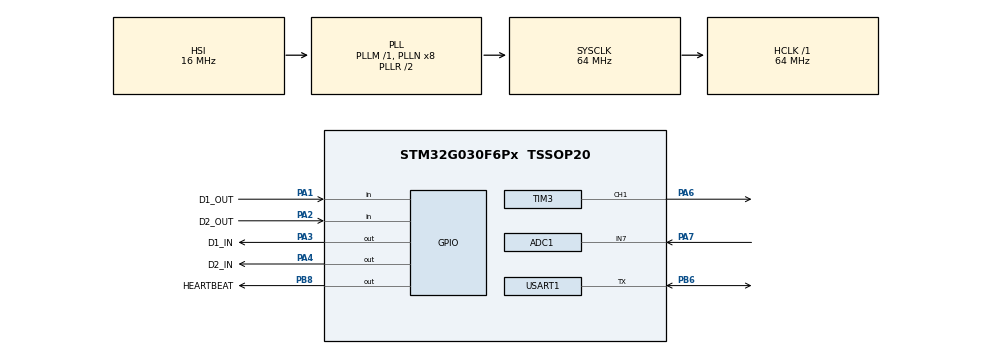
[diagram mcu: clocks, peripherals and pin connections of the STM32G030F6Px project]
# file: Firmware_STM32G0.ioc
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ADC1.Channel-9\#ChannelRegularConversion=ADC_CHANNEL_7
ADC1.ClockPrescaler=ADC_CLOCK_SYNC_PCLK_DIV4
ADC1.NbrOfConversionFlag=1
ADC1.Rank-9\#ChannelRegularConversion=1
ADC1.SamplingTime-9\#ChannelRegularConversion=ADC_SAMPLINGTIME_COMMON_1
ADC1.SamplingTimeCommon1=ADC_SAMPLETIME_79CYCLES_5
ADC1.SelectedChannel=ADC_CHANNEL_7
ADC1.master=1
Mcu.Family=STM32G0
Mcu.Name=STM32G030F6Px
Mcu.Package=TSSOP20
NVIC.USART1_IRQn=true\:0\:0\:false\:false\:true\:true\:true\:true
PA1.GPIO_Label=D1_OUT
PA1.GPIO_PuPd=GPIO_NOPULL
PA1.Signal=GPIO_Input
PA13.Mode=Serial_Wire
PA13.Signal=SYS_SWDIO
PA14-BOOT0.Mode=Serial_Wire
PA14-BOOT0.Signal=SYS_SWCLK
PA14-BOOT0__PA15.StandardMode=true
PA2.GPIO_Label=D2_OUT
PA2.GPIO_PuPd=GPIO_NOPULL
PA2.Signal=GPIO_Input
PA3.GPIO_Label=D1_IN
PA3.Signal=GPIO_Output
PA4.GPIO_Label=D2_IN
PA4.Signal=GPIO_Output
PA6.Signal=S_TIM3_CH1
PA7.Mode=IN7
PA7.Signal=ADC1_IN7
PB0__PB1__PB2__PA8.StandardMode=true
PB3__PB4__PB5__PB6.StandardMode=true
PB6.GPIO_Speed=GPIO_SPEED_FREQ_VERY_HIGH
PB6.Mode=Half_duplex(single_wire_mode)
PB6.Signal=USART1_TX
PB7__PB8.StandardMode=true
PB8.GPIO_Label=HEARTBEAT
PB8.Signal=GPIO_Output
PC14-OSC32_IN\ (PC14)__PB9.StandardMode=true
ProjectManager.HeapSize=0x200
ProjectManager.StackSize=0x400
ProjectManager.TargetToolchain=STM32CubeIDE
RCC.ADCFreq_Value=64000000
RCC.AHBFreq_Value=64000000
RCC.CortexFreq_Value=64000000
RCC.EXTERNAL_CLOCK_VALUE=12288000
RCC.HCLKFreq_Value=64000000
RCC.HSE_VALUE=8000000
RCC.HSI_VALUE=16000000
RCC.LSE_VALUE=32768
RCC.SYSCLKFreq_VALUE=64000000
RCC.SYSCLKSource=RCC_SYSCLKSOURCE_PLLCLK
RCC.VCOOutputFreq_Value=128000000
SH.S_TIM3_CH1.0=TIM3_CH1,PWM Generation1 CH1
TIM3.Channel-PWM\ Generation1\ CH1=TIM_CHANNEL_1
TIM3.Period=19999
TIM3.Prescaler=63
TIM3.Pulse-PWM\ Generation1\ CH1=1500
USART1.BaudRate=1000000
USART1.VirtualMode-Half_duplex(single_wire_mode)=VM_ASYNC
board=custom

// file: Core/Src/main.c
/* USER CODE BEGIN Header */
/**
  ******************************************************************************
  * @file           : main.c
  * @brief          : Main program body
  ******************************************************************************
  * @attention
  *
  * Copyright (c) 2026 STMicroelectronics.
  * All rights reserved.
  *
  * This software is licensed under terms that can be found in the LICENSE file
  * in the root directory of this software component.
  * If no LICENSE file comes with this software, it is provided AS-IS.
  *
  ******************************************************************************
  */
/* USER CODE END Header */
#include "main.h"

/* USER CODE BEGIN Includes */
#include <stdbool.h>
/* USER CODE END Includes */

/* USER CODE BEGIN PD */
// --- SERVO Positions (Adjust these to match your physical gripper limits) ---
#define PWM_POS_OPEN_US         1000    // 1.0 ms pulse = Open
#define PWM_POS_CLOSE_US        2000    // 2.0 ms pulse = Closed
#define PWM_SOFT_STEP_US        10      // Step size (us) per 20ms during Soft Close

#define ST3215_ID               1       // Default Feetech Servo ID (0xFE is broadcast if unsure)
#define ST3215_POS_OPEN         1000    // Range is 0 - 4095
#define ST3215_POS_CLOSE        3000    // Range is 0 - 4095

// --- CURRENT LIMITS (in milliamps) ---
#define SOFT_GRIP_LIMIT_MA      450     // Stop closing in Soft Mode when current hits 450mA
#define HARD_OVERLOAD_LIMIT_MA  1200    // Protect 1.5A aviation cable if hard stalled
/* USER CODE END PD */

ADC_HandleTypeDef hadc1;

TIM_HandleTypeDef htim3;

UART_HandleTypeDef huart1;

/* USER CODE BEGIN PV */
typedef enum {
    SERVO_TYPE_PWM = 0,     // MG996R (5V PWM on PA6)
    SERVO_TYPE_UART = 1     // Feetech ST3215 (12V Half-Duplex UART on PB6)
} ServoType_t;

typedef enum {
    CMD_HARD_OPEN  = 0,     // D2=0, D1=0
    CMD_HARD_CLOSE = 1,     // D2=0, D1=1
    CMD_SOFT_OPEN  = 2,     // D2=1, D1=0 (Free-wheel / Backdrivable)
    CMD_SOFT_CLOSE = 3      // D2=1, D1=1 (Current-limited gentle grip)
} GripperCmd_t;

// >>> CHANGE THIS GLOBAL VARIABLE TO SWITCH BETWEEN PWM AND UART SERVO <<<
volatile ServoType_t g_active_servo = SERVO_TYPE_PWM;

GripperCmd_t g_current_cmd = CMD_SOFT_OPEN;
GripperCmd_t g_last_cmd    = 0xFF; // Force update on boot

uint32_t g_servo_current_mA = 0;
uint16_t g_pwm_current_us   = PWM_POS_OPEN_US;
bool     g_soft_grip_locked = false;
/* USER CODE END PV */

void SystemClock_Config(void);
static void MX_GPIO_Init(void);
static void MX_ADC1_Init(void);
static void MX_TIM3_Init(void);
static void MX_USART1_UART_Init(void);

/* USER CODE BEGIN 0 */

// ======================= HELPER FUNCTIONS ====================================
// PA7 -> ADC1_IN7, Shunt = 50mOhm, Amplifier Gain = 20V/V -> 1.0V/A
uint32_t Read_Servo_Current_mA(void) {
  HAL_ADC_Start(&hadc1);
  if (HAL_ADC_PollForConversion(&hadc1, 5) == HAL_OK) {
    uint32_t raw = HAL_ADC_GetValue(&hadc1);
    // 3300mV full scale / 4095 counts -> mV equals mA directly
    uint32_t current_mA = (raw * 3300UL) / 4095UL;
    // low-pass filter
    // Integer equivalent of (0.75 * old) + (0.25 * new) using fast bit-shift (/4)
    g_servo_current_mA = ((3 * g_servo_current_mA) + current_mA) >> 2;
  }
  HAL_ADC_Stop(&hadc1);
  return g_servo_current_mA;
}

// Send a register write packet to Feetech ST3215 over Half-Duplex USART1
void ST3215_WriteReg(uint8_t id, uint8_t reg, const uint8_t *data, uint8_t len) {
  uint8_t pkt[16];
  uint8_t msg_len = len + 2; // instruciton + parameter + checksum
  uint8_t checksum = id + msg_len + 0x03 + reg; // 0x03 = INST_WRITE

  pkt[0] = 0xFF;
  pkt[1] = 0xFF;
  pkt[2] = id;
  pkt[3] = msg_len;
  pkt[4] = 0x03; // write instruction
  pkt[5] = reg;

  for (uint8_t i = 0; i < len; i++) {
    pkt[6 + i] = data[i];
    checksum += data[i];
  }
  pkt[6 + len]  = ~checksum; // bitwise NOT checksum

  HAL_HalfDuplex_EnableTransmitter(&huart1);
  HAL_UART_Transmit(&huart1, pkt, 7 + len, 10);
  HAL_HalfDuplex_EnableReceiver(&huart1);
  HAL_Delay(2);
}

// enable (1) or disable (0) ST3215 holding torque (Reg 0x28)
void ST3215_SetTorqueEnable(uint8_t id, uint8_t enable) {
  ST3215_WriteReg(id, 0x28, &enable, 1);
}

// Set ST3215 Torque Limit (Reg 0x30, 0 - 1000 where 1000 = 100%)
void ST3215_SetTorqueLimit(uint8_t id, uint16_t limit) {
  uint8_t data[2] = { (uint8_t)(limit & 0XFF), (uint8_t)((limit >> 8) & 0xFF) };
  ST3215_WriteReg(id, 0x30, data, 2);
}

void ST3215_Move(uint8_t id, uint16_t pos, uint16_t speed) {
  uint8_t data[6] = {
    (uint8_t)(pos & 0xFF),   (uint8_t)((pos >> 8) & 0xFF),   // Goal Position (0x2A)
    0x00,                    0x00,                           // Goal Time (0x2C) = 0
    (uint8_t)(speed & 0xFF), (uint8_t)((speed >> 8) & 0xFF)  // Goal Speed (0x2E)
  };
  ST3215_WriteReg(id, 0x2A, data, 6);
}
// ============================= HELPER FUNCTIONS ================================

/* USER CODE END 0 */

int main(void)
{

  /* MCU Configuration--------------------------------------------------------*/

  /* Reset of all peripherals, Initializes the Flash interface and the Systick. */
  HAL_Init();

  /* Configure the system clock */
  SystemClock_Config();

  /* Initialize all configured peripherals */
  MX_GPIO_Init();
  MX_ADC1_Init();
  MX_TIM3_Init();
  MX_USART1_UART_Init();
  /* USER CODE BEGIN 2 */

  // ================ INITIALIZATION ===================
  // Calibrate ADC on startup for accurate current sensing
  HAL_ADCEx_Calibration_Start(&hadc1);
  // start PWM timer on PA6 (TIM3_CH1) with pulse = 0 (idle/free on boot)
  __HAL_TIM_SET_COMPARE(&htim3, TIM_CHANNEL_1, 0);
  HAL_TIM_PWM_Start(&htim3, TIM_CHANNEL_1);
  uint32_t last_control_tick = 0;
  uint32_t last_heartbeat_tick = 0;
  // ================ INITIALIZATION ===================

  /* USER CODE END 2 */

  /* Infinite loop */
  /* USER CODE BEGIN WHILE */
  while (1)
  {
    // ============== CONTROL LOOP =====================
    uint32_t now = HAL_GetTick();

    // 50Hz (20ms) control and current sensing task
    if (now - last_control_tick >= 20) {
      last_control_tick = now;

      // Read Dobot Inputs (Active-HIGH via optocouplers)
      // (D1_O -> PA1), (D2_O -> PA2)
      uint8_t d1_output;
      if (HAL_GPIO_ReadPin(GPIOA, GPIO_PIN_1) == GPIO_PIN_SET) {
        d1_output = 1;
      } else {
        d1_output = 0;
      }
      uint8_t d2_output;
      if (HAL_GPIO_ReadPin(GPIOA, GPIO_PIN_2) == GPIO_PIN_SET) {
        d2_output = 1;
      } else {
        d2_output = 0;
      }
      g_current_cmd = (GripperCmd_t)((d2_output << 1) | d1_output);

      // read servo current in mA
      uint32_t current_mA = Read_Servo_Current_mA();

      // execute servo logic
      bool state_changed = (g_current_cmd != g_last_cmd);

      if (g_active_servo == SERVO_TYPE_PWM) { // PWM SERVO
        switch (g_current_cmd) {
          case CMD_HARD_OPEN:
            g_pwm_current_us = PWM_POS_OPEN_US;
            __HAL_TIM_SET_COMPARE(&htim3, TIM_CHANNEL_1, g_pwm_current_us);
            break;
          case CMD_HARD_CLOSE:
            // safety cut-back if current exceeds 1.2A (cable has 1.5A rating)
            if (current_mA < HARD_OVERLOAD_LIMIT_MA) {
              g_pwm_current_us = PWM_POS_CLOSE_US;
            } else {
              // Overload detected (>1.2A)! Relax pulse or disable PWM to save servo/cable
              __HAL_TIM_SET_COMPARE(&htim3, TIM_CHANNEL_1, 0);
              break;
            }
            __HAL_TIM_SET_COMPARE(&htim3, TIM_CHANNEL_1, g_pwm_current_us);
            break;
          case CMD_SOFT_OPEN:
            // setting CCR1 to 0 stops PWM pulses -> servo becomes freely moveable by hand
            __HAL_TIM_SET_COMPARE(&htim3, TIM_CHANNEL_1, 0);
            g_pwm_current_us = PWM_POS_OPEN_US;
            break;
          case CMD_SOFT_CLOSE:
            if (state_changed) {
              g_soft_grip_locked = false; // reset lock on fresh command
            }
            // step slowly towards closed until current hits SOFT_GRIP_LIMIT_MA (450mA)
            if (!g_soft_grip_locked) {
              if (current_mA >= SOFT_GRIP_LIMIT_MA) {
                // object felt so back off slightly (15us) to hold gently without stalling
                if (g_pwm_current_us > (PWM_POS_OPEN_US + 15)) {
                  g_pwm_current_us -= 15;
                }
                g_soft_grip_locked = true;
              } else if (g_pwm_current_us < PWM_POS_CLOSE_US) {
                g_pwm_current_us += PWM_SOFT_STEP_US;
              }
            }
            __HAL_TIM_SET_COMPARE(&htim3, TIM_CHANNEL_1, g_pwm_current_us);
            break;
        }
      }
      else { // UART SERVO
        if (state_changed) {
          switch (g_current_cmd) {
            case CMD_HARD_OPEN:
              ST3215_SetTorqueLimit(ST3215_ID, 800); // 80% torque
              ST3215_SetTorqueEnable(ST3215_ID, 1);
              ST3215_Move(ST3215_ID, ST3215_POS_OPEN, 1500);
              break;
            case CMD_HARD_CLOSE:
              ST3215_SetTorqueLimit(ST3215_ID, 800); // 80% torque
              ST3215_SetTorqueEnable(ST3215_ID, 1);
              ST3215_Move(ST3215_ID, ST3215_POS_CLOSE, 1500);
              break;
            case CMD_SOFT_OPEN:
              // disable torque so users can freely move the gripper by hand
              ST3215_SetTorqueEnable(ST3215_ID, 0);
              break;
            case CMD_SOFT_CLOSE:
              // set internal torque limit to 25% for a gentle compliant grip
              ST3215_SetTorqueLimit(ST3215_ID, 250);
              ST3215_SetTorqueEnable(ST3215_ID, 1);
              ST3215_Move(ST3215_ID, ST3215_POS_CLOSE, 600); // slower speed
              break;
          }
        }
        // extra hardware current safety check for uart servo
        if (current_mA > HARD_OVERLOAD_LIMIT_MA) {
          ST3215_SetTorqueLimit(ST3215_ID, 200);
        }
      }
      g_last_cmd = g_current_cmd;
    }

    // 1Hz (500ms) HEARTBEAT LED Task (PB8)
    if (now - last_heartbeat_tick >= 500) {
      last_heartbeat_tick = now;
      HAL_GPIO_TogglePin(GPIOB, GPIO_PIN_8);
    }

    // ============== CONTROL LOOP =====================
    /* USER CODE END WHILE */

  }
}

void SystemClock_Config(void)
{
  RCC_OscInitTypeDef RCC_OscInitStruct = {0};
  RCC_ClkInitTypeDef RCC_ClkInitStruct = {0};

  /** Configure the main internal regulator output voltage
  */
  HAL_PWREx_ControlVoltageScaling(PWR_REGULATOR_VOLTAGE_SCALE1);

  /** Initializes the RCC Oscillators according to the specified parameters
  * in the RCC_OscInitTypeDef structure.
  */
  RCC_OscInitStruct.OscillatorType = RCC_OSCILLATORTYPE_HSI;
  RCC_OscInitStruct.HSIState = RCC_HSI_ON;
  RCC_OscInitStruct.HSIDiv = RCC_HSI_DIV1;
  RCC_OscInitStruct.HSICalibrationValue = RCC_HSICALIBRATION_DEFAULT;
  RCC_OscInitStruct.PLL.PLLState = RCC_PLL_ON;
  RCC_OscInitStruct.PLL.PLLSource = RCC_PLLSOURCE_HSI;
  RCC_OscInitStruct.PLL.PLLM = RCC_PLLM_DIV1;
  RCC_OscInitStruct.PLL.PLLN = 8;
  RCC_OscInitStruct.PLL.PLLP = RCC_PLLP_DIV2;
  RCC_OscInitStruct.PLL.PLLR = RCC_PLLR_DIV2;
  if (HAL_RCC_OscConfig(&RCC_OscInitStruct) != HAL_OK)
  {
    Error_Handler();
  }

  /** Initializes the CPU, AHB and APB buses clocks
  */
  RCC_ClkInitStruct.ClockType = RCC_CLOCKTYPE_HCLK|RCC_CLOCKTYPE_SYSCLK
                              |RCC_CLOCKTYPE_PCLK1;
  RCC_ClkInitStruct.SYSCLKSource = RCC_SYSCLKSOURCE_PLLCLK;
  RCC_ClkInitStruct.AHBCLKDivider = RCC_SYSCLK_DIV1;
  RCC_ClkInitStruct.APB1CLKDivider = RCC_HCLK_DIV1;

  if (HAL_RCC_ClockConfig(&RCC_ClkInitStruct, FLASH_LATENCY_2) != HAL_OK)
  {
    Error_Handler();
  }
}

static void MX_ADC1_Init(void)
{

  ADC_ChannelConfTypeDef sConfig = {0};

  /** Configure the global features of the ADC (Clock, Resolution, Data Alignment and number of conversion)
  */
  hadc1.Instance = ADC1;
  hadc1.Init.ClockPrescaler = ADC_CLOCK_SYNC_PCLK_DIV4;
  hadc1.Init.Resolution = ADC_RESOLUTION_12B;
  hadc1.Init.DataAlign = ADC_DATAALIGN_RIGHT;
  hadc1.Init.ScanConvMode = ADC_SCAN_DISABLE;
  hadc1.Init.EOCSelection = ADC_EOC_SINGLE_CONV;
  hadc1.Init.LowPowerAutoWait = DISABLE;
  hadc1.Init.LowPowerAutoPowerOff = DISABLE;
  hadc1.Init.ContinuousConvMode = DISABLE;
  hadc1.Init.NbrOfConversion = 1;
  hadc1.Init.DiscontinuousConvMode = DISABLE;
  hadc1.Init.ExternalTrigConv = ADC_SOFTWARE_START;
  hadc1.Init.ExternalTrigConvEdge = ADC_EXTERNALTRIGCONVEDGE_NONE;
  hadc1.Init.DMAContinuousRequests = DISABLE;
  hadc1.Init.Overrun = ADC_OVR_DATA_PRESERVED;
  hadc1.Init.SamplingTimeCommon1 = ADC_SAMPLETIME_79CYCLES_5;
  hadc1.Init.SamplingTimeCommon2 = ADC_SAMPLETIME_1CYCLE_5;
  hadc1.Init.OversamplingMode = DISABLE;
  hadc1.Init.TriggerFrequencyMode = ADC_TRIGGER_FREQ_HIGH;
  if (HAL_ADC_Init(&hadc1) != HAL_OK)
  {
    Error_Handler();
  }

  /** Configure Regular Channel
  */
  sConfig.Channel = ADC_CHANNEL_7;
  sConfig.Rank = ADC_REGULAR_RANK_1;
  sConfig.SamplingTime = ADC_SAMPLINGTIME_COMMON_1;
  if (HAL_ADC_ConfigChannel(&hadc1, &sConfig) != HAL_OK)
  {
    Error_Handler();
  }

}

static void MX_TIM3_Init(void)
{

  TIM_MasterConfigTypeDef sMasterConfig = {0};
  TIM_OC_InitTypeDef sConfigOC = {0};

  htim3.Instance = TIM3;
  htim3.Init.Prescaler = 63;
  htim3.Init.CounterMode = TIM_COUNTERMODE_UP;
  htim3.Init.Period = 19999;
  htim3.Init.ClockDivision = TIM_CLOCKDIVISION_DIV1;
  htim3.Init.AutoReloadPreload = TIM_AUTORELOAD_PRELOAD_DISABLE;
  if (HAL_TIM_PWM_Init(&htim3) != HAL_OK)
  {
    Error_Handler();
  }
  sMasterConfig.MasterOutputTrigger = TIM_TRGO_RESET;
  sMasterConfig.MasterSlaveMode = TIM_MASTERSLAVEMODE_DISABLE;
  if (HAL_TIMEx_MasterConfigSynchronization(&htim3, &sMasterConfig) != HAL_OK)
  {
    Error_Handler();
  }
  sConfigOC.OCMode = TIM_OCMODE_PWM1;
  sConfigOC.Pulse = 1500;
  sConfigOC.OCPolarity = TIM_OCPOLARITY_HIGH;
  sConfigOC.OCFastMode = TIM_OCFAST_DISABLE;
  if (HAL_TIM_PWM_ConfigChannel(&htim3, &sConfigOC, TIM_CHANNEL_1) != HAL_OK)
  {
    Error_Handler();
  }
  HAL_TIM_MspPostInit(&htim3);

}

static void MX_USART1_UART_Init(void)
{

  huart1.Instance = USART1;
  huart1.Init.BaudRate = 1000000;
  huart1.Init.WordLength = UART_WORDLENGTH_8B;
  huart1.Init.StopBits = UART_STOPBITS_1;
  huart1.Init.Parity = UART_PARITY_NONE;
  huart1.Init.Mode = UART_MODE_TX_RX;
  huart1.Init.HwFlowCtl = UART_HWCONTROL_NONE;
  huart1.Init.OverSampling = UART_OVERSAMPLING_16;
  huart1.Init.OneBitSampling = UART_ONE_BIT_SAMPLE_DISABLE;
  huart1.Init.ClockPrescaler = UART_PRESCALER_DIV1;
  huart1.AdvancedInit.AdvFeatureInit = UART_ADVFEATURE_NO_INIT;
  if (HAL_HalfDuplex_Init(&huart1) != HAL_OK)
  {
    Error_Handler();
  }
  if (HAL_UARTEx_SetTxFifoThreshold(&huart1, UART_TXFIFO_THRESHOLD_1_8) != HAL_OK)
  {
    Error_Handler();
  }
  if (HAL_UARTEx_SetRxFifoThreshold(&huart1, UART_RXFIFO_THRESHOLD_1_8) != HAL_OK)
  {
    Error_Handler();
  }
  if (HAL_UARTEx_DisableFifoMode(&huart1) != HAL_OK)
  {
    Error_Handler();
  }

}

static void MX_GPIO_Init(void)
{
  GPIO_InitTypeDef GPIO_InitStruct = {0};

  /* GPIO Ports Clock Enable */
  __HAL_RCC_GPIOB_CLK_ENABLE();
  __HAL_RCC_GPIOA_CLK_ENABLE();

  /*Configure GPIO pin Output Level */
  HAL_GPIO_WritePin(HEARTBEAT_GPIO_Port, HEARTBEAT_Pin, GPIO_PIN_RESET);

  /*Configure GPIO pin Output Level */
  HAL_GPIO_WritePin(GPIOA, D1_IN_Pin|D2_IN_Pin, GPIO_PIN_RESET);

  /*Configure GPIO pin : HEARTBEAT_Pin */
  GPIO_InitStruct.Pin = HEARTBEAT_Pin;
  GPIO_InitStruct.Mode = GPIO_MODE_OUTPUT_PP;
  GPIO_InitStruct.Pull = GPIO_NOPULL;
  GPIO_InitStruct.Speed = GPIO_SPEED_FREQ_LOW;
  HAL_GPIO_Init(HEARTBEAT_GPIO_Port, &GPIO_InitStruct);

  /*Configure GPIO pins : D1_OUT_Pin D2_OUT_Pin */
  GPIO_InitStruct.Pin = D1_OUT_Pin|D2_OUT_Pin;
  GPIO_InitStruct.Mode = GPIO_MODE_INPUT;
  GPIO_InitStruct.Pull = GPIO_NOPULL;
  HAL_GPIO_Init(GPIOA, &GPIO_InitStruct);

  /*Configure GPIO pins : D1_IN_Pin D2_IN_Pin */
  GPIO_InitStruct.Pin = D1_IN_Pin|D2_IN_Pin;
  GPIO_InitStruct.Mode = GPIO_MODE_OUTPUT_PP;
  GPIO_InitStruct.Pull = GPIO_NOPULL;
  GPIO_InitStruct.Speed = GPIO_SPEED_FREQ_LOW;
  HAL_GPIO_Init(GPIOA, &GPIO_InitStruct);

}

void Error_Handler(void)
{
  __disable_irq();
  while (1)
  {
  }
}
